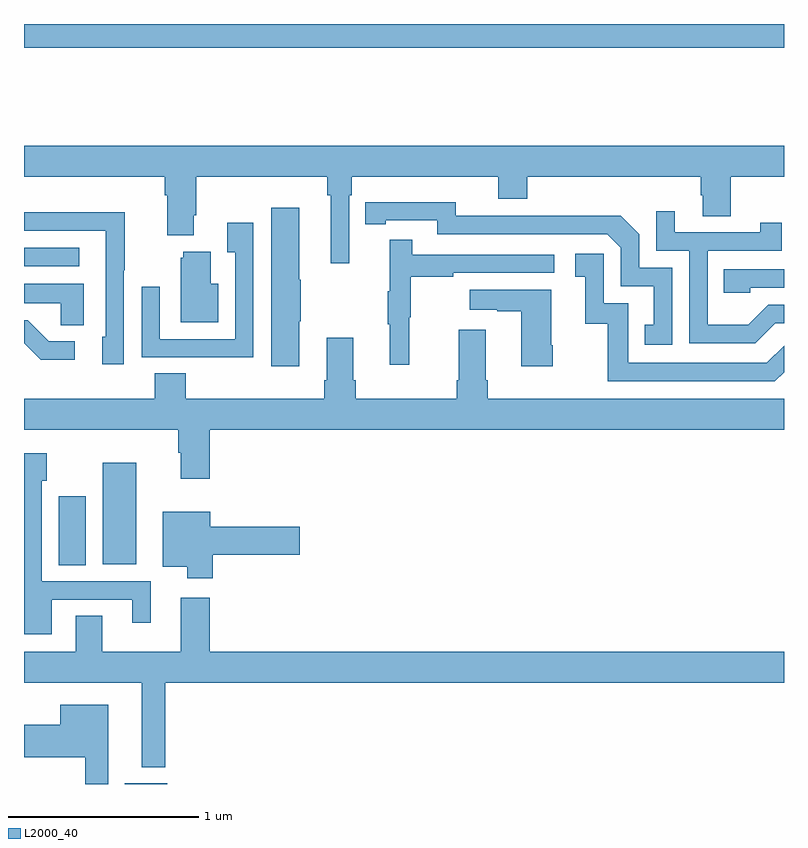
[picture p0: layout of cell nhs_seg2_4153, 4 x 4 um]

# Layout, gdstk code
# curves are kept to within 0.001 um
import gdstk
lib = gdstk.Library(unit=1e-6, precision=1e-09)
def R(c, l, rs):  # rectangles x0, y0, x1, y1
    for r in rs: c.add(gdstk.rectangle(r[:2], r[2:], *l))
def P(c, l, *ps):  # polygons
    for p in ps: c.add(gdstk.Polygon(p, *l))
L2000_40 = (2000, 40)

nhs_seg2_4153 = lib.new_cell('nhs_seg2_4153')
R(nhs_seg2_4153, L2000_40, [(335.531,617.8,335.754,617.803), (335.183,618.952,335.326,619.315), (335.414,618.956,335.59,619.492), (335,620.526,335.29,620.622), (335,621.676,339,621.8)])
P(nhs_seg2_4153, L2000_40, [(335,620.996),(335.741,620.996),(335.741,620.9),(335.753,620.9),(335.753,620.687),(335.893,620.687),(335.893,620.794),(335.906,620.794),(335.906,620.996),(336.595,620.996),(336.595,620.9),(336.614,620.9),(336.614,620.541),(336.711,620.541),(336.711,620.9),(336.725,620.9),(336.725,620.996),(337.496,620.996),(337.496,620.879),(337.649,620.879),(337.649,620.996),(338.561,620.996),(338.561,620.898),(338.573,620.898),(338.573,620.788),(338.721,620.788),(338.721,620.996),(339,620.996),(339,621.16),(335,621.16)],
  [(338.412,620.517),(338.238,620.517),(338.238,620.694),(338.14,620.792),(337.732,620.792),(337.732,620.79),(337.272,620.79),(337.272,620.863),(336.796,620.862),(336.796,620.746),(336.904,620.746),(336.904,620.766),(337.176,620.766),(337.176,620.694),(338.07,620.694),(338.142,620.622),(338.142,620.421),(338.315,620.421),(338.315,620.217),(338.266,620.217),(338.266,620.112),(338.412,620.112)],
  [(336.448,620.236),(336.456,620.236),(336.456,620.453),(336.448,620.453),(336.448,620.833),(336.302,620.833),(336.302,619.998),(336.448,619.998)],
  [(338.953,620.226),(339,620.226),(339,620.322),(338.916,620.322),(338.812,620.218),(338.598,620.218),(338.598,620.607),(338.987,620.607),(338.987,620.755),(338.876,620.755),(338.876,620.703),(338.425,620.703),(338.425,620.815),(338.328,620.815),(338.328,620.607),(338.502,620.607),(338.502,620.121),(338.848,620.121)],
  [(335.526,620.503),(335.529,620.503),(335.529,620.81),(335.065,620.81),(335.065,620.808),(335,620.808),(335,620.712),(335.43,620.712),(335.43,620.154),(335.411,620.154),(335.411,620.01),(335.526,620.01)],
  [(336.207,620.755),(336.071,620.755),(336.071,620.599),(336.111,620.599),(336.111,620.142),(335.715,620.142),(335.715,620.416),(335.619,620.416),(335.619,620.046),(335.935,620.046),(335.935,620.045),(336.207,620.045)],
  [(337.028,620.256),(337.036,620.256),(337.036,620.47),(337.259,620.47),(337.259,620.49),(337.792,620.49),(337.792,620.586),(337.043,620.586),(337.043,620.665),(336.926,620.665),(336.926,620.393),(336.915,620.393),(336.915,620.219),(336.926,620.219),(336.926,620.007),(337.028,620.007)],
  [(336.022,620.434),(335.983,620.434),(335.983,620.602),(335.837,620.602),(335.837,620.571),(335.825,620.571),(335.825,620.231),(336.022,620.231)],
  [(339,619.968),(339,620.106),(338.91,620.016),(338.181,620.016),(338.181,620.331),(338.052,620.331),(338.052,620.59),(337.902,620.59),(337.902,620.469),(337.955,620.469),(337.955,620.223),(338.073,620.223),(338.073,619.92),(338.952,619.92)],
  [(338.823,620.412),(339,620.412),(339,620.508),(338.683,620.508),(338.683,620.385),(338.823,620.385)],
  [(335.314,620.434),(335,620.434),(335,620.33),(335.193,620.33),(335.193,620.215),(335.314,620.215)],
  [(337.782,620.11),(337.774,620.11),(337.774,620.401),(337.347,620.401),(337.347,620.297),(337.49,620.297),(337.49,620.287),(337.616,620.287),(337.616,619.998),(337.782,619.998)],
  [(335.266,620.13),(335.131,620.13),(335.02,620.241),(335,620.241),(335,620.119),(335.087,620.033),(335.266,620.033)],
  [(335.978,619.664),(339,619.664),(339,619.828),(337.442,619.828),(337.442,619.924),(337.429,619.924),(337.429,620.191),(337.289,620.191),(337.289,619.924),(337.277,619.924),(337.277,619.828),(336.746,619.828),(336.746,619.924),(336.733,619.924),(336.733,620.149),(336.593,620.149),(336.593,619.924),(336.581,619.924),(336.581,619.828),(335.852,619.828),(335.852,619.961),(335.687,619.961),(335.687,619.828),(335,619.828),(335,619.664),(335.813,619.664),(335.813,619.544),(335.825,619.544),(335.825,619.407),(335.978,619.407)],
  [(335.146,618.771),(335.57,618.771),(335.57,618.648),(335.668,618.648),(335.668,618.867),(335.094,618.867),(335.094,619.395),(335.121,619.395),(335.121,619.54),(335,619.54),(335,618.587),(335.146,618.587)],
  [(335.993,619.007),(336.451,619.007),(336.451,619.154),(335.98,619.154),(335.98,619.234),(335.729,619.234),(335.729,618.944),(335.858,618.944),(335.858,618.882),(335.993,618.882)],
  [(335.743,618.332),(339,618.332),(339,618.496),(335.978,618.496),(335.978,618.781),(335.825,618.781),(335.825,618.496),(335.413,618.496),(335.413,618.686),(335.273,618.686),(335.273,618.496),(335,618.496),(335,618.332),(335.621,618.332),(335.621,617.888),(335.743,617.888)],
  [(335.443,618.217),(335.192,618.217),(335.192,618.112),(335,618.112),(335,617.942),(335.322,617.942),(335.322,617.8),(335.443,617.8)])

lib.write_gds('nhs_seg2_4153.gds')
